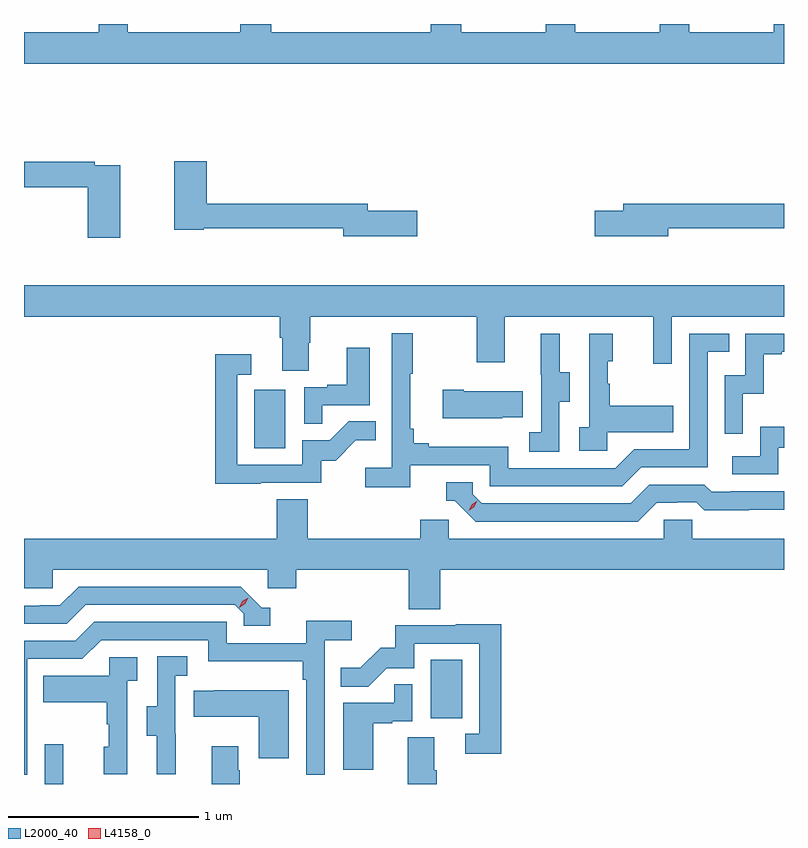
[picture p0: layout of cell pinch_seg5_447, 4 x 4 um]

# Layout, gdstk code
import gdstk
lib = gdstk.Library(unit=1e-6, precision=1e-09)
def R(c, l, rs):  # rectangles x0, y0, x1, y1
    for r in rs: c.add(gdstk.rectangle(r[:2], r[2:], *l))
def P(c, l, *ps):  # polygons
    for p in ps: c.add(gdstk.Polygon(p, *l))
L2000_40 = (2000, 40)
L4158_0 = (4158, 0)

pinch_seg5_447 = lib.new_cell('pinch_seg5_447')
R(pinch_seg5_447, L2000_40, [(924.123,859.628,924.221,859.837), (926.156,859.974,926.32,860.281), (925.226,861.396,925.39,861.703)])
P(pinch_seg5_447, L2000_40, [(928.014,863.628),(927.961,863.628),(927.961,863.584),(927.516,863.584),(927.516,863.628),(927.361,863.628),(927.361,863.584),(926.916,863.584),(926.916,863.628),(926.761,863.628),(926.761,863.584),(926.316,863.584),(926.316,863.628),(926.156,863.628),(926.156,863.584),(925.316,863.584),(925.316,863.628),(925.151,863.628),(925.151,863.584),(924.56,863.584),(924.56,863.628),(924.408,863.628),(924.408,863.584),(924.014,863.584),(924.014,863.42),(928.014,863.42)],
  [(926.083,862.646),(925.822,862.646),(925.822,862.682),(924.977,862.682),(924.977,862.906),(924.806,862.906),(924.806,862.546),(924.96,862.546),(924.96,862.554),(925.694,862.554),(925.694,862.511),(926.083,862.511)],
  [(924.52,862.884),(924.386,862.884),(924.386,862.904),(924.014,862.904),(924.014,862.768),(924.35,862.768),(924.35,862.503),(924.52,862.503)],
  [(927.406,862.554),(928.014,862.554),(928.014,862.682),(927.167,862.682),(927.167,862.646),(927.018,862.646),(927.018,862.511),(927.406,862.511)],
  [(924.014,862.088),(925.361,862.088),(925.361,861.976),(925.373,861.976),(925.373,861.802),(925.513,861.802),(925.513,861.951),(925.521,861.951),(925.521,862.088),(926.398,862.088),(926.398,861.849),(926.545,861.849),(926.545,862.088),(927.326,862.088),(927.326,861.84),(927.423,861.84),(927.423,862.088),(928.014,862.088),(928.014,862.252),(924.014,862.252)],
  [(926.048,861.306),(926.466,861.306),(926.466,861.195),(927.163,861.195),(927.262,861.294),(927.612,861.294),(927.612,861.903),(927.725,861.903),(927.725,861.999),(927.516,861.999),(927.516,861.39),(927.225,861.39),(927.126,861.291),(926.562,861.291),(926.562,861.403),(926.143,861.403),(926.143,861.422),(926.066,861.422),(926.066,861.499),(926.047,861.499),(926.047,861.787),(926.059,861.787),(926.059,862),(925.95,862),(925.95,861.292),(925.809,861.292),(925.809,861.19),(926.048,861.19)],
  [(927.798,861.683),(927.908,861.683),(927.908,861.891),(928.003,861.891),(928.003,861.903),(928.014,861.903),(928.014,861.999),(927.81,861.999),(927.81,861.78),(927.702,861.78),(927.702,861.471),(927.798,861.471)],
  [(927.084,861.479),(927.431,861.479),(927.431,861.619),(927.097,861.619),(927.097,861.734),(927.087,861.734),(927.087,861.852),(927.112,861.852),(927.112,861.997),(926.988,861.997),(926.988,861.506),(926.937,861.506),(926.937,861.381),(927.084,861.381)],
  [(926.832,861.64),(926.887,861.64),(926.887,861.795),(926.833,861.795),(926.833,861.997),(926.735,861.997),(926.735,861.783),(926.736,861.783),(926.736,861.479),(926.673,861.479),(926.673,861.376),(926.832,861.376)],
  [(925.583,861.621),(925.834,861.621),(925.834,861.925),(925.712,861.925),(925.712,861.73),(925.609,861.73),(925.609,861.717),(925.488,861.717),(925.488,861.523),(925.583,861.523)],
  [(925.259,861.213),(925.578,861.213),(925.578,861.33),(925.654,861.33),(925.761,861.437),(925.865,861.437),(925.865,861.536),(925.722,861.536),(925.624,861.438),(925.479,861.438),(925.479,861.309),(925.137,861.309),(925.137,861.783),(925.21,861.783),(925.21,861.889),(925.021,861.889),(925.021,861.208),(925.259,861.208)],
  [(926.531,861.557),(926.639,861.557),(926.639,861.694),(926.329,861.694),(926.329,861.702),(926.217,861.702),(926.217,861.554),(926.531,861.554)],
  [(927.984,861.399),(928.014,861.399),(928.014,861.508),(927.888,861.508),(927.888,861.354),(927.741,861.354),(927.741,861.258),(927.984,861.258)],
  [(927.343,861.108),(927.45,861.108),(927.45,861.111),(927.553,861.111),(927.595,861.069),(927.828,861.069),(927.828,861.071),(928.014,861.071),(928.014,861.168),(927.733,861.168),(927.733,861.165),(927.634,861.165),(927.595,861.204),(927.306,861.204),(927.207,861.105),(926.424,861.105),(926.376,861.153),(926.376,861.216),(926.237,861.216),(926.237,861.12),(926.28,861.12),(926.391,861.009),(927.244,861.009)],
  [(926.204,860.756),(928.014,860.756),(928.014,860.92),(927.531,860.92),(927.531,861.018),(927.381,861.018),(927.381,860.92),(926.25,860.92),(926.25,861.018),(926.099,861.018),(926.099,860.92),(925.508,860.92),(925.508,861.128),(925.343,861.128),(925.343,860.92),(924.014,860.92),(924.014,860.756),(924.015,860.756),(924.015,860.658),(924.165,860.658),(924.165,860.756),(925.296,860.756),(925.296,860.658),(925.448,860.658),(925.448,860.756),(926.039,860.756),(926.039,860.548),(926.204,860.548)],
  [(925.309,860.556),(925.266,860.556),(925.155,860.667),(924.302,860.667),(924.203,860.568),(924.096,860.568),(924.096,860.565),(924.014,860.565),(924.014,860.472),(924.24,860.472),(924.339,860.571),(925.122,860.571),(925.17,860.523),(925.17,860.46),(925.309,860.46)],
  [(924.03,860.286),(924.321,860.286),(924.42,860.385),(924.984,860.385),(924.984,860.273),(925.48,860.273),(925.48,860.177),(925.5,860.177),(925.5,859.677),(925.596,859.677),(925.596,860.384),(925.738,860.384),(925.738,860.486),(925.499,860.486),(925.499,860.37),(925.08,860.37),(925.08,860.481),(924.383,860.481),(924.284,860.382),(924.014,860.382),(924.014,859.677),(924.03,859.677)],
  [(926.525,860.468),(926.287,860.468),(926.287,860.463),(925.969,860.463),(925.969,860.346),(925.892,860.346),(925.785,860.239),(925.681,860.239),(925.681,860.14),(925.825,860.14),(925.923,860.238),(926.067,860.238),(926.067,860.367),(926.409,860.367),(926.409,859.893),(926.337,859.893),(926.337,859.788),(926.525,859.788)],
  [(924.812,859.893),(924.81,859.893),(924.81,860.197),(924.874,860.197),(924.874,860.3),(924.714,860.3),(924.714,860.037),(924.659,860.037),(924.659,859.882),(924.713,859.882),(924.713,859.68),(924.812,859.68)],
  [(924.558,860.171),(924.61,860.171),(924.61,860.295),(924.462,860.295),(924.462,860.197),(924.115,860.197),(924.115,860.057),(924.45,860.057),(924.45,859.943),(924.46,859.943),(924.46,859.824),(924.434,859.824),(924.434,859.68),(924.558,859.68)],
  [(925.852,859.947),(925.952,859.947),(925.952,859.959),(926.058,859.959),(926.058,860.153),(925.963,860.153),(925.963,860.055),(925.694,860.055),(925.694,859.704),(925.852,859.704)],
  [(925.408,860.122),(925.015,860.122),(925.015,860.119),(924.907,860.119),(924.907,859.982),(925.25,859.982),(925.25,859.764),(925.408,859.764)],
  [(926.186,859.7),(926.173,859.7),(926.173,859.874),(926.033,859.874),(926.033,859.628),(926.186,859.628)],
  [(925.149,859.7),(925.141,859.7),(925.141,859.828),(925.001,859.828),(925.001,859.628),(925.149,859.628)])
P(pinch_seg5_447, L4158_0, [(926.354,861.066),(926.354,861.066),(926.37,861.099),(926.4,861.119),(926.4,861.119),(926.4,861.119),(926.385,861.086),(926.355,861.066)],
  [(925.147,860.556),(925.147,860.556),(925.163,860.589),(925.193,860.609),(925.193,860.609),(925.193,860.608),(925.178,860.576),(925.147,860.556)])

lib.write_gds('pinch_seg5_447.gds')
